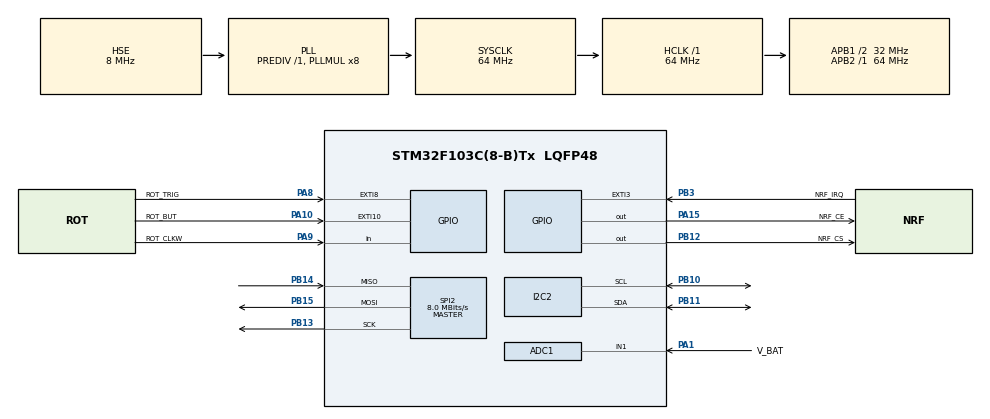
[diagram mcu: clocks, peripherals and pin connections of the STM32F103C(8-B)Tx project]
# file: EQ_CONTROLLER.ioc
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ADC1.Channel-0\#ChannelRegularConversion=ADC_CHANNEL_1
ADC1.NbrOfConversionFlag=1
ADC1.Rank-0\#ChannelRegularConversion=1
ADC1.SamplingTime-0\#ChannelRegularConversion=ADC_SAMPLETIME_1CYCLE_5
ADC1.master=1
I2C2.I2C_Mode=I2C_Fast
Mcu.Family=STM32F1
Mcu.Name=STM32F103C(8-B)Tx
Mcu.Package=LQFP48
NVIC.EXTI15_10_IRQn=true\:0\:0\:false\:false\:true\:true\:true\:true
NVIC.EXTI3_IRQn=true\:0\:0\:false\:false\:true\:true\:true\:true
NVIC.EXTI9_5_IRQn=true\:0\:0\:false\:false\:true\:true\:true\:true
NVIC.PriorityGroup=NVIC_PRIORITYGROUP_4
PA1.GPIO_Label=V_BAT
PA1.Signal=ADCx_IN1
PA10.GPIO_Label=ROT_BUT
PA10.GPIO_PuPd=GPIO_NOPULL
PA10.Signal=GPXTI10
PA13.Mode=Serial_Wire
PA13.Signal=SYS_JTMS-SWDIO
PA14.Mode=Serial_Wire
PA14.Signal=SYS_JTCK-SWCLK
PA15.GPIO_Label=NRF_CE
PA15.Signal=GPIO_Output
PA8.GPIO_Label=ROT_TRIG
PA8.GPIO_PuPd=GPIO_NOPULL
PA8.Signal=GPXTI8
PA9.GPIO_Label=ROT_CLKW
PA9.GPIO_PuPd=GPIO_NOPULL
PA9.Signal=GPIO_Input
PB10.Mode=I2C
PB10.Signal=I2C2_SCL
PB11.Mode=I2C
PB11.Signal=I2C2_SDA
PB12.GPIO_Label=NRF_CS
PB12.Signal=GPIO_Output
PB13.Mode=Full_Duplex_Master
PB13.Signal=SPI2_SCK
PB14.Mode=Full_Duplex_Master
PB14.Signal=SPI2_MISO
PB15.Mode=Full_Duplex_Master
PB15.Signal=SPI2_MOSI
PB3.GPIO_Label=NRF_IRQ
PB3.GPIO_ModeDefaultEXTI=GPIO_MODE_IT_FALLING
PB3.Signal=GPXTI3
PD0-OSC_IN.Mode=HSE-External-Oscillator
PD0-OSC_IN.Signal=RCC_OSC_IN
PD1-OSC_OUT.Mode=HSE-External-Oscillator
PD1-OSC_OUT.Signal=RCC_OSC_OUT
ProjectManager.HeapSize=0x200
ProjectManager.StackSize=0x400
ProjectManager.TargetToolchain=STM32CubeIDE
RCC.ADCPresc=RCC_ADCPCLK2_DIV8
RCC.AHBFreq_Value=64000000
RCC.APB1CLKDivider=RCC_HCLK_DIV2
RCC.APB1Freq_Value=32000000
RCC.APB1TimFreq_Value=64000000
RCC.APB2Freq_Value=64000000
RCC.APB2TimFreq_Value=64000000
RCC.HCLKFreq_Value=64000000
RCC.PLLMUL=RCC_PLL_MUL8
RCC.PLLSourceVirtual=RCC_PLLSOURCE_HSE
RCC.SYSCLKFreq_VALUE=64000000
RCC.SYSCLKSource=RCC_SYSCLKSOURCE_PLLCLK
RCC.USBFreq_Value=64000000
SH.ADCx_IN1.0=ADC1_IN1,IN1
SPI2.BaudRatePrescaler=SPI_BAUDRATEPRESCALER_4
SPI2.CRCCalculation=SPI_CRCCALCULATION_DISABLE
SPI2.CalculateBaudRate=8.0 MBits/s
SPI2.Direction=SPI_DIRECTION_2LINES
SPI2.FirstBit=SPI_FIRSTBIT_MSB
SPI2.Mode=SPI_MODE_MASTER
SPI2.VirtualType=VM_MASTER
board=custom

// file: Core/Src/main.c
/* USER CODE BEGIN Header */
/**
  ******************************************************************************
  * @file           : main.c
  * @brief          : Main program body
  ******************************************************************************
  * @attention
  *
  * Copyright (c) 2022 STMicroelectronics.
  * All rights reserved.
  *
  * This software is licensed under terms that can be found in the LICENSE file
  * in the root directory of this software component.
  * If no LICENSE file comes with this software, it is provided AS-IS.
  *
  ******************************************************************************
  */
/* USER CODE END Header */
#include "main.h"
#include "adc.h"
#include "gpio.h"
#include "i2c.h"
#include "spi.h"

/* USER CODE BEGIN Includes */
#include "eqm_settings.h"
#include "flags.h"
#include "math.h"
#include "menu_drawer.h"
#include "menu_flow.h"
#include "nrf24l01p.h"
#include "rotary_events.h"
#include "sh1106.h"
#include <memory.h>
#include <stdio.h>

/* USER CODE END Includes */

/* USER CODE BEGIN PD */
#define MENU_SCREEN_ROWS 6
#define ROW_SPACE_PX 10
#define SELECTION_ARROW_DELAY 20
#define DEG_TO_RAD_CONST (M_PI / 180)

#define EQM_RF_CHANNEL 0
#define TEST_CARRIER 0

#if TEST_CARRIER == 1
#define ITERATIONS 300
#endif
/* USER CODE END PD */

/* USER CODE BEGIN PV */

uint32_t packets_lost = 0;// global counter of lost packets

char* mode_menu_strings[EQM_MODES_AMOUNT] = {
        [MANUAL_MODE] = "Manual Mode",
        [TRACKING_MODE] = "Start Tracking",
        [GOTO_MODE] = "Go to Target",
        [OFF_MODE] = "Free Movement"};

/* USER CODE END PV */

void SystemClock_Config(void);

/* USER CODE BEGIN PFP */
void menu_process(navigator_t* navigator, eqm_settings_t const* settings) {
    switch (navigator->current_screen->details.type) {

        case MONITOR_SCREEN:
            navigator->ctrl.monitor.update_counter++;
            if (navigator->ctrl.monitor.update_counter >=
                navigator->ctrl.monitor.update_threshold) {
                navigator->ctrl.monitor.update_counter = 0;
                navigator->has_changes = true;
            }
            break;
        default:
            break;
    }

    if (navigator->has_changes) {
        update_screen(navigator, settings);
    }
}
/* USER CODE END PFP */

/* USER CODE BEGIN 0 */

#ifdef USE_NRF24L01
void nRF24_TX_ESB_setup(const uint8_t* addr) {

    // Do the initial configurations.
    nRF24_init(addr, EQM_RF_CHANNEL);
    nRF24_StopListening();
}
#endif

/* USER CODE END 0 */

int main(void) {
    /* USER CODE BEGIN 1 */

    eqm_settings_t settings = {
            .DEC.decimal_degrees = 0,
            .RA.decimal_hours = 0,
            .screen_contrast = 100,
            .screen_contrast_time = 100,
            .mode = OFF_MODE,
            .hemisphere = SOUTH,
    };

    navigator_t navigator = {
            .screens = screens_adresses,
            .current_screen = &monitor_screen,
            .ctrl = {
                    .menu = {
                            .head = 0,
                            .selection = 0,
                    },
            },
            .has_changes = true,
    };

    /* USER CODE END 1 */

    /* MCU Configuration--------------------------------------------------------*/

    /* Reset of all peripherals, Initializes the Flash interface and the Systick. */
    HAL_Init();

    /* Configure the system clock */
    SystemClock_Config();

    /* Initialize all configured peripherals */
    MX_GPIO_Init();
    MX_ADC1_Init();
    MX_I2C2_Init();
    MX_SPI2_Init();
    /* USER CODE BEGIN 2 */

    astro_targets_init();
    SH1106_cleanInit();
    SH1106_drawBitmapFullscreen(eqmount_logo);
    SH1106_flush();
    HAL_Delay(2000);

#ifdef USE_NRF24L01

#if TEST_CARRIER == 1
    uint16_t channel_offset = 0;
    while (true) {
        /** Keep sending the carrier */
        nRF24_StartCarrier(nRF24_TXPWR_0dBm,
                           (uint8_t) (EQM_RF_CHANNEL + 64 * cos((channel_offset / (double) ITERATIONS) * 2 * 3.1415)));
        HAL_Delay(1);
        channel_offset++;
        if (channel_offset > ITERATIONS) {
            channel_offset = 0;
        }
    }
#endif

    static const uint8_t nRF24_ADDR[] = "EQM0";

    nrf24_data_t recv_data = {0};

    const nrf24_data_t init_msg = {
            .kind = COMMAND,
            .size = {
                    .data = 7,
                    .payload = PLD_LEN,
            },
            .data = "Connect",
    };

    nRF24_TX_ESB_setup(nRF24_ADDR);

    uint16_t retries = 0;

    char* loading_points[] = {"", ".", "..", "..."};
    char str_buff[32] = {0};

    while (!nRF24_check(nRF24_ADDR)) {
        retries++;
        nRF24_TX_ESB_setup(nRF24_ADDR);
        SH1106_clear();
        SH1106_printStr(20, (SCR_H / 2) - 8, "ERRO - NRF24", &fnt7x10);
        sprintf(str_buff, "Retries: %d", retries);
        SH1106_printStr(20, (3 * SCR_H / 4) - 8, str_buff, &fnt7x10);
        SH1106_flush();
        HAL_Delay(100);
    }

    retries = 0;
    nRF24_StopListening();
    while (!nRF24_Talk(init_msg, NULL, nRF24_MODE_TX)) {
        retries++;
        SH1106_clear();
        SH1106_printStr(3, (SCR_H / 2) - 12, "Mount not found", &fnt7x10);
        sprintf(str_buff, "Searching %s", loading_points[retries % 4]);
        SH1106_printStr(15, (3 * SCR_H / 4) - 12, str_buff, &fnt7x10);
        SH1106_flush();
        HAL_Delay(100);
    }

#endif

    /* USER CODE END 2 */

    /* Infinite loop */
    while (1) {

        /* USER CODE BEGIN 3 */
        if (rotary_peek_dir() || rotary_peek_press()) {
            handle_rotary_event(&navigator, &settings);
        }

        menu_process(&navigator, &settings);
    }
    /* USER CODE END 3 */
}

void SystemClock_Config(void) {
    RCC_OscInitTypeDef RCC_OscInitStruct = {0};
    RCC_ClkInitTypeDef RCC_ClkInitStruct = {0};
    RCC_PeriphCLKInitTypeDef PeriphClkInit = {0};

    /** Initializes the RCC Oscillators according to the specified parameters
    * in the RCC_OscInitTypeDef structure.
    */
    RCC_OscInitStruct.OscillatorType = RCC_OSCILLATORTYPE_HSE;
    RCC_OscInitStruct.HSEState = RCC_HSE_ON;
    RCC_OscInitStruct.HSEPredivValue = RCC_HSE_PREDIV_DIV1;
    RCC_OscInitStruct.HSIState = RCC_HSI_ON;
    RCC_OscInitStruct.PLL.PLLState = RCC_PLL_ON;
    RCC_OscInitStruct.PLL.PLLSource = RCC_PLLSOURCE_HSE;
    RCC_OscInitStruct.PLL.PLLMUL = RCC_PLL_MUL8;
    if (HAL_RCC_OscConfig(&RCC_OscInitStruct) != HAL_OK) {
        Error_Handler();
    }

    /** Initializes the CPU, AHB and APB buses clocks
    */
    RCC_ClkInitStruct.ClockType = RCC_CLOCKTYPE_HCLK | RCC_CLOCKTYPE_SYSCLK | RCC_CLOCKTYPE_PCLK1 | RCC_CLOCKTYPE_PCLK2;
    RCC_ClkInitStruct.SYSCLKSource = RCC_SYSCLKSOURCE_PLLCLK;
    RCC_ClkInitStruct.AHBCLKDivider = RCC_SYSCLK_DIV1;
    RCC_ClkInitStruct.APB1CLKDivider = RCC_HCLK_DIV2;
    RCC_ClkInitStruct.APB2CLKDivider = RCC_HCLK_DIV1;

    if (HAL_RCC_ClockConfig(&RCC_ClkInitStruct, FLASH_LATENCY_2) != HAL_OK) {
        Error_Handler();
    }
    PeriphClkInit.PeriphClockSelection = RCC_PERIPHCLK_ADC;
    PeriphClkInit.AdcClockSelection = RCC_ADCPCLK2_DIV8;
    if (HAL_RCCEx_PeriphCLKConfig(&PeriphClkInit) != HAL_OK) {
        Error_Handler();
    }
}

/* USER CODE BEGIN 4 */
//static void update_home_handler() {
//    nrf24_data_t out_msg;
//    nrf24_data_t in_msg;
//    transf_t t;
//    uint8_t pld_len;
//
//    nRF24_PrepareData("GET_DEC_RA_HOME", 15, REQUEST, &out_msg);
//    while (!nRF24_Talk(out_msg, &in_msg, nRF24_MODE_TX))
//        ;
//    nRF24_RetrieveData(in_msg, &settings_values.RA);
//}

//static void target_menu_select_handler(target_t selected) {
//    astro_target_t tgt;
//
//    if (selected > _TARGET_AMOUNT) {
//        return;
//    }
//
//    tgt = astro_target_get(selected);
//    settings_values.RA = tgt.position.right_ascension;
//    settings_values.DEC = tgt.position.declination;
//}

//static void mode_menu_select_handler(settings_t* settings, eqm_mode_t select) {
//    nrf24_data_t mode_set_msg;
//
//    if (select > EQM_MODES_AMOUNT) {
//        return;
//    }
//
//    settings.mode = select;
//    switch (select) {
//
//        case MANUAL_MODE:
//            nRF24_PrepareData("MANUAL", 7, COMMAND, &mode_set_msg);
//            break;
//        case TRACKING_MODE:
//            nRF24_PrepareData("TRACK", 6, COMMAND, &mode_set_msg);
//            break;
//        case GOTO_MODE:
//            nRF24_PrepareData("GOTO", 5, COMMAND, &mode_set_msg);
//            break;
//        case OFF_MODE:
//            nRF24_PrepareData("RELEASE", 8, COMMAND, &mode_set_msg);
//            break;
//        default:
//            nRF24_PrepareData("NOP", 4, COMMAND, &mode_set_msg);
//            break;
//    }
//
//    while (!nRF24_Talk(mode_set_msg, NULL, nRF24_MODE_TX)) {
//        HAL_Delay(10);
//    }
//}

/*
void load_list_menu_changes(void) {
    uint8_t menu_size = 0;
    uint8_t* menu_selection = 0;
    uint8_t* menu_head = 0;

    switch (screen.kind.menu) {
        case MAIN_MENU:
            menu_size = _MAIN_MENU_AMOUNT;
            menu_selection = (uint8_t*) &menu_data.main_menu.selection;
            menu_head = (uint8_t*) &menu_data.main_menu.head;
            break;
        case TARGET_MENU:
            menu_size = _TARGET_AMOUNT;
            menu_selection = (uint8_t*) &menu_data.target_menu.selection;
            menu_head = (uint8_t*) &menu_data.target_menu.head;
            break;
        case EQM_MODE_MENU:
            menu_size = _EQM_MODES_AMOUNT;
            menu_selection = (uint8_t*) &menu_data.mode_menu.selection;
            menu_head = (uint8_t*) &menu_data.mode_menu.head;
            break;
        default:
            break;
    }

    if (rotary_peek_dir() != NOT_MOVING) {
        handle_list_menu_changes(menu_size, menu_selection, menu_head);
    }
}

static void show_declination(char* buffer, uint8_t x_offset, uint8_t y_offset) {
    uint8_t x_shift = x_offset;

    sprintf(buffer, "%c", (settings_values.DEC.decimal_degrees > 0) ? 'N' : 'S');
    SH1106_printStr(SCR_W - 30, y_offset, buffer, &fnt7x10);
    sprintf(buffer, "%02d", settings_values.DEC.degrees);
    x_shift += SH1106_printStr(x_offset, y_offset, buffer, &fnt7x10);
    x_shift += SH1106_printStr(x_shift, y_offset - 3, "o", &fnt7x10);
    sprintf(buffer, "%02d'%02d\"", settings_values.DEC.arc_minutes, settings_values.DEC.arc_seconds);
    SH1106_printStr(x_shift + 2, y_offset, buffer, &fnt7x10);
}

void show_target_menu() {
    uint8_t str_sel = 0;
    bool is_pressed = rotary_peek_press();

    SH1106_clear();

    for (uint8_t current_str_y = 0; current_str_y < MENU_SCREEN_ROWS; current_str_y++) {
        if (str_sel + menu_data.target_menu.head == _TARGET_AMOUNT) {
            break;
        }
        SH1106_printStr(4 + CUSTOM_CHAR_W, 2 + current_str_y * ROW_SPACE_PX,
                        astro_target_get(str_sel + menu_data.target_menu.head).name,
                        &fnt5x7);
        str_sel++;
    }

    handle_menu_list_arrow(is_pressed, &menu_data.target_menu.selection,
                           &menu_data.target_menu.head);

    SH1106_flush();
    if (is_pressed) {
        HAL_Delay(SELECTION_ARROW_DELAY);
    }
}

void show_mode_menu() {
    uint8_t str_sel = 0;
    bool is_pressed = rotary_peek_press();

    SH1106_clear();

    for (uint8_t current_str_y = 0; current_str_y < MENU_SCREEN_ROWS; current_str_y++) {
        if (str_sel + menu_data.mode_menu.head == _EQM_MODES_AMOUNT) {
            break;
        }
        SH1106_printStr(4 + CUSTOM_CHAR_W, 2 + current_str_y * ROW_SPACE_PX,
                        mode_menu_strings[str_sel + menu_data.mode_menu.head],
                        &fnt5x7);
        str_sel++;
    }

    handle_menu_list_arrow(is_pressed, &menu_data.mode_menu.selection,
                           &menu_data.mode_menu.head);

    SH1106_flush();
    if (is_pressed) {
        HAL_Delay(SELECTION_ARROW_DELAY);
    }
}

void show_settings_adjust(settings_t setting) {
    static const uint8_t X_OFFSET = 20;
    static const uint8_t Y_OFFSET = 30;
    static const uint8_t CENTER_X = 64;
    static const uint8_t CENTER_Y = 44;
    static const uint8_t RADIUS = 10;
    static const uint8_t INNER_RADIUS = RADIUS - 3;
    static const uint8_t OUTER_RADIUS = RADIUS + 4;
    const double dec_in_radians = settings_values.DEC.decimal_degrees * DEG_TO_RAD_CONST;
    double curr_cos;
    double curr_sin;
    char buffer[11] = {0};

    SH1106_clear();

    SH1106_printStr(2, 2, setting_strings[setting], &fnt5x7);
    SH1106_drawHLine(0, SCR_W - 20, 11);

    switch (setting) {

        case DEC_SETTINGS:
            show_declination(buffer, X_OFFSET, Y_OFFSET - 10);
            break;
        case RA_SETTINGS:
            show_right_ascension(buffer, X_OFFSET + 6, Y_OFFSET - 10);
            break;
        case CONTRAST_SETTINGS:
            sprintf(buffer, "%d%%", settings_values.screen_contrast);
            SH1106_printStr(X_OFFSET + 26, Y_OFFSET, buffer, &fnt7x10);
            break;
        case CONTRAST_TIME_SETTINGS:
            sprintf(buffer, "%ds", settings_values.screen_contrast_time);
            SH1106_printStr(X_OFFSET + 26, Y_OFFSET, buffer, &fnt7x10);
            break;
        case HEMISPHERE_SETTINGS:
            sprintf(buffer, "%s", (settings_values.hemisphere == NORTH) ? "North" : "South");
            SH1106_printStr(X_OFFSET + 6, Y_OFFSET, buffer, &fnt7x10);
            SH1106_drawBitmap(80, Y_OFFSET - 6, SETTINGS_BITMAP_W, SETTINGS_BITMAP_H,
                              settings_values.hemisphere == NORTH ? north_hemisphere : south_hemisphere);
            break;
        case NONE:
        default:
            break;
    }

    SH1106_flush();
}

void load_settings_changes(void) {
    int32_t min;
    int32_t max;
    uint8_t decrement;
    int32_t tmp_value;
    void* setting = NULL;

    switch (screen.kind.setting) {

        case DEC_SETTINGS:
            setting = &settings_values.DEC;
            min = -90 * 3600;
            max = 90 * 3600;
            decrement = 10;
            tmp_value = settings_values.DEC.decimal_degrees * 3600;
            break;
        case RA_SETTINGS:
            setting = &settings_values.RA;
            min = 0;
            max = (24 * 3600) - 1;
            decrement = 10;
            tmp_value = settings_values.RA.decimal_hours * 3600;
            break;
        case CONTRAST_SETTINGS:
            setting = &settings_values.screen_contrast;
            min = 0;
            max = 100;
            decrement = 5;
            tmp_value = settings_values.screen_contrast;
            break;
        case CONTRAST_TIME_SETTINGS:
            setting = &settings_values.screen_contrast_time;
            min = 0;
            max = 255;
            decrement = 5;
            tmp_value = settings_values.screen_contrast_time;
            break;
        case HEMISPHERE_SETTINGS:
            setting = &settings_values.hemisphere;
            min = NORTH;
            max = SOUTH;
            decrement = 1;
            tmp_value = settings_values.hemisphere;
            break;
        case NONE:
        default:
            return;
    }

    if (rotary_peek_dir() != NOT_MOVING) {
        handle_settings_menu_changes(&tmp_value, min, max, decrement);
        switch (screen.kind.setting) {
            case DEC_SETTINGS:
                ((angle_t*) setting)->decimal_degrees = tmp_value / 3600.0;
                tmp_value = tmp_value >= 0 ? tmp_value : -tmp_value;//Correcting signedness;
                ((angle_t*) setting)->degrees = (int16_t) ((tmp_value / 3600) % 360);
                ((angle_t*) setting)->arc_minutes = (tmp_value / 60) % 60;
                ((angle_t*) setting)->arc_seconds = tmp_value % 60;
                break;
            case RA_SETTINGS:
                ((time__t*) setting)->decimal_hours = tmp_value / 3600.0;
                tmp_value = tmp_value >= 0 ? tmp_value : -tmp_value;//Correcting signedness;
                ((time__t*) setting)->hours = (tmp_value / 3600) % 24;
                ((time__t*) setting)->minutes = (tmp_value / 60) % 60;
                ((time__t*) setting)->seconds = tmp_value % 60;
                break;
            default:
                *((int32_t*) setting) = tmp_value;
        }
    }
}

*/

/* USER CODE END 4 */

void Error_Handler(void) {
    __disable_irq();
    while (1) {
    }
}
